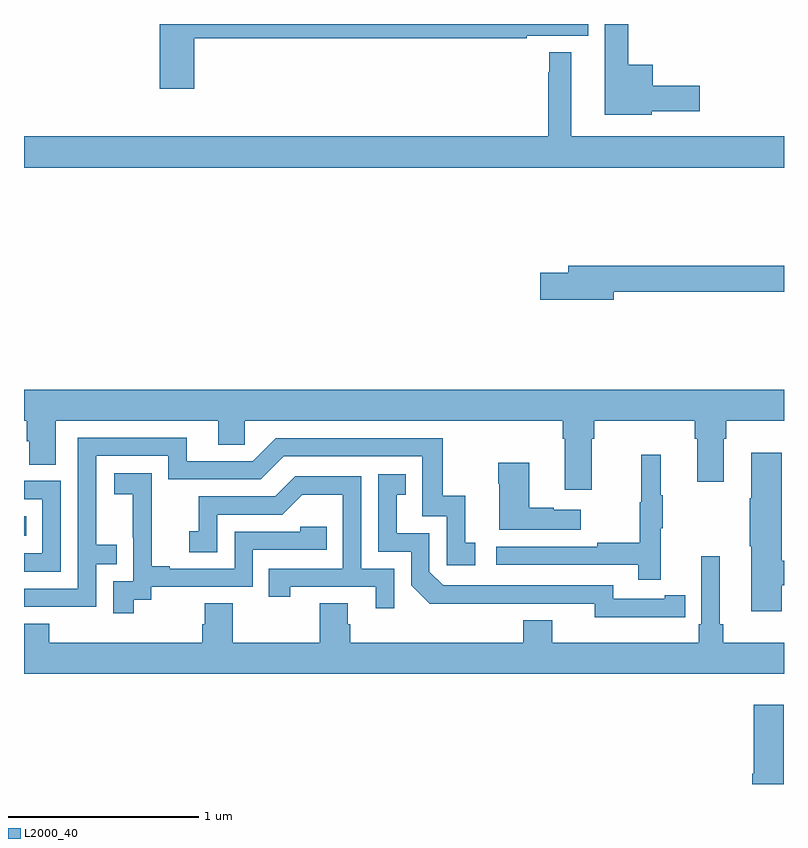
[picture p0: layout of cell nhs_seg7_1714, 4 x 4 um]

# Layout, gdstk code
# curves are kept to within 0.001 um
import gdstk
lib = gdstk.Library(unit=1e-6, precision=1e-09)
def R(c, l, rs):  # rectangles x0, y0, x1, y1
    for r in rs: c.add(gdstk.rectangle(r[:2], r[2:], *l))
def P(c, l, *ps):  # polygons
    for p in ps: c.add(gdstk.Polygon(p, *l))
L2000_40 = (2000, 40)

nhs_seg7_1714 = lib.new_cell('nhs_seg7_1714')
R(nhs_seg7_1714, L2000_40, [(227,1037.306,227.012,1037.41)])
P(nhs_seg7_1714, L2000_40, [(227.897,1039.924),(229.646,1039.924),(229.646,1039.937),(229.969,1039.937),(229.969,1040),(227.714,1040),(227.714,1039.659),(227.897,1039.659)],
  [(230.304,1039.541),(230.557,1039.541),(230.557,1039.676),(230.308,1039.676),(230.308,1039.786),(230.179,1039.786),(230.179,1040),(230.057,1040),(230.057,1039.523),(230.304,1039.523)],
  [(231,1039.408),(229.879,1039.408),(229.879,1039.852),(229.764,1039.852),(229.764,1039.745),(229.758,1039.745),(229.758,1039.408),(227,1039.408),(227,1039.244),(231,1039.244)],
  [(230.104,1038.592),(231,1038.592),(231,1038.728),(229.865,1038.728),(229.865,1038.692),(229.716,1038.692),(229.716,1038.55),(230.104,1038.55)],
  [(229.987,1037.816),(230,1037.816),(230,1037.912),(230.531,1037.912),(230.531,1037.816),(230.543,1037.816),(230.543,1037.592),(230.683,1037.592),(230.683,1037.816),(230.696,1037.816),(230.696,1037.912),(231,1037.912),(231,1038.076),(227,1038.076),(227,1037.912),(227.015,1037.912),(227.015,1037.803),(227.028,1037.803),(227.028,1037.68),(227.167,1037.68),(227.167,1037.912),(228.023,1037.912),(228.023,1037.785),(228.162,1037.785),(228.162,1037.912),(229.835,1037.912),(229.835,1037.816),(229.847,1037.816),(229.847,1037.55),(229.987,1037.55)],
  [(227.379,1037.157),(227.489,1037.157),(227.489,1037.258),(227.379,1037.258),(227.379,1037.727),(227.76,1037.727),(227.76,1037.604),(228.246,1037.604),(228.366,1037.724),(229.095,1037.724),(229.095,1037.409),(229.224,1037.409),(229.224,1037.151),(229.375,1037.151),(229.375,1037.271),(229.322,1037.271),(229.322,1037.518),(229.204,1037.518),(229.204,1037.82),(228.324,1037.82),(228.204,1037.7),(227.857,1037.7),(227.857,1037.823),(227.283,1037.823),(227.283,1037.028),(227,1037.028),(227,1036.932),(227.379,1036.932)],
  [(230.987,1037.046),(231,1037.046),(231,1037.174),(230.987,1037.174),(230.987,1037.743),(230.828,1037.743),(230.828,1037.504),(230.821,1037.504),(230.821,1037.251),(230.828,1037.251),(230.828,1036.908),(230.987,1036.908)],
  [(230.351,1037.347),(230.362,1037.347),(230.362,1037.521),(230.351,1037.521),(230.351,1037.734),(230.248,1037.734),(230.248,1037.484),(230.241,1037.484),(230.241,1037.27),(230.017,1037.27),(230.017,1037.25),(229.485,1037.25),(229.485,1037.154),(230.233,1037.154),(230.233,1037.076),(230.351,1037.076)],
  [(229.93,1037.443),(229.787,1037.443),(229.787,1037.453),(229.66,1037.453),(229.66,1037.692),(229.495,1037.692),(229.495,1037.579),(229.502,1037.579),(229.502,1037.339),(229.93,1037.339)],
  [(227.578,1036.969),(227.67,1036.969),(227.67,1037.037),(228.204,1037.037),(228.204,1037.232),(228.593,1037.232),(228.593,1037.355),(228.453,1037.355),(228.453,1037.328),(228.108,1037.328),(228.108,1037.133),(227.767,1037.133),(227.767,1037.146),(227.672,1037.146),(227.672,1037.429),(227.673,1037.429),(227.673,1037.635),(227.475,1037.635),(227.475,1037.525),(227.573,1037.525),(227.573,1037.297),(227.574,1037.297),(227.574,1037.067),(227.469,1037.067),(227.469,1036.899),(227.578,1036.899)],
  [(230.372,1036.878),(230.48,1036.878),(230.48,1036.994),(230.372,1036.994),(230.372,1036.974),(230.1,1036.974),(230.1,1037.046),(229.206,1037.046),(229.134,1037.118),(229.134,1037.319),(228.961,1037.319),(228.961,1037.523),(229.01,1037.523),(229.01,1037.629),(228.864,1037.629),(228.864,1037.223),(229.038,1037.223),(229.038,1037.046),(229.136,1036.949),(230.004,1036.95),(230.004,1036.877)],
  [(228.948,1037.133),(228.774,1037.133),(228.774,1037.619),(228.428,1037.619),(228.323,1037.514),(227.92,1037.514),(227.92,1037.329),(227.871,1037.329),(227.871,1037.22),(228.018,1037.22),(228.018,1037.418),(228.36,1037.418),(228.464,1037.522),(228.678,1037.522),(228.678,1037.133),(228.289,1037.133),(228.289,1036.986),(228.4,1036.986),(228.4,1037.037),(228.851,1037.037),(228.851,1036.926),(228.948,1036.926)],
  [(227.193,1037.595),(227,1037.595),(227,1037.499),(227.097,1037.499),(227.097,1037.214),(227,1037.214),(227,1037.118),(227.193,1037.118)],
  [(231,1036.744),(230.681,1036.744),(230.681,1036.84),(230.662,1036.84),(230.662,1037.2),(230.565,1037.2),(230.565,1036.84),(230.552,1036.84),(230.552,1036.744),(229.78,1036.744),(229.78,1036.861),(229.628,1036.861),(229.628,1036.744),(228.716,1036.744),(228.716,1036.842),(228.703,1036.842),(228.703,1036.952),(228.556,1036.952),(228.556,1036.744),(228.099,1036.744),(228.099,1036.952),(227.951,1036.952),(227.951,1036.842),(227.939,1036.842),(227.939,1036.744),(227.132,1036.744),(227.132,1036.843),(227,1036.843),(227,1036.58),(231,1036.58)],
  [(230.998,1036.417),(230.84,1036.417),(230.84,1036.053),(230.834,1036.053),(230.834,1036),(230.998,1036)])

lib.write_gds('nhs_seg7_1714.gds')
